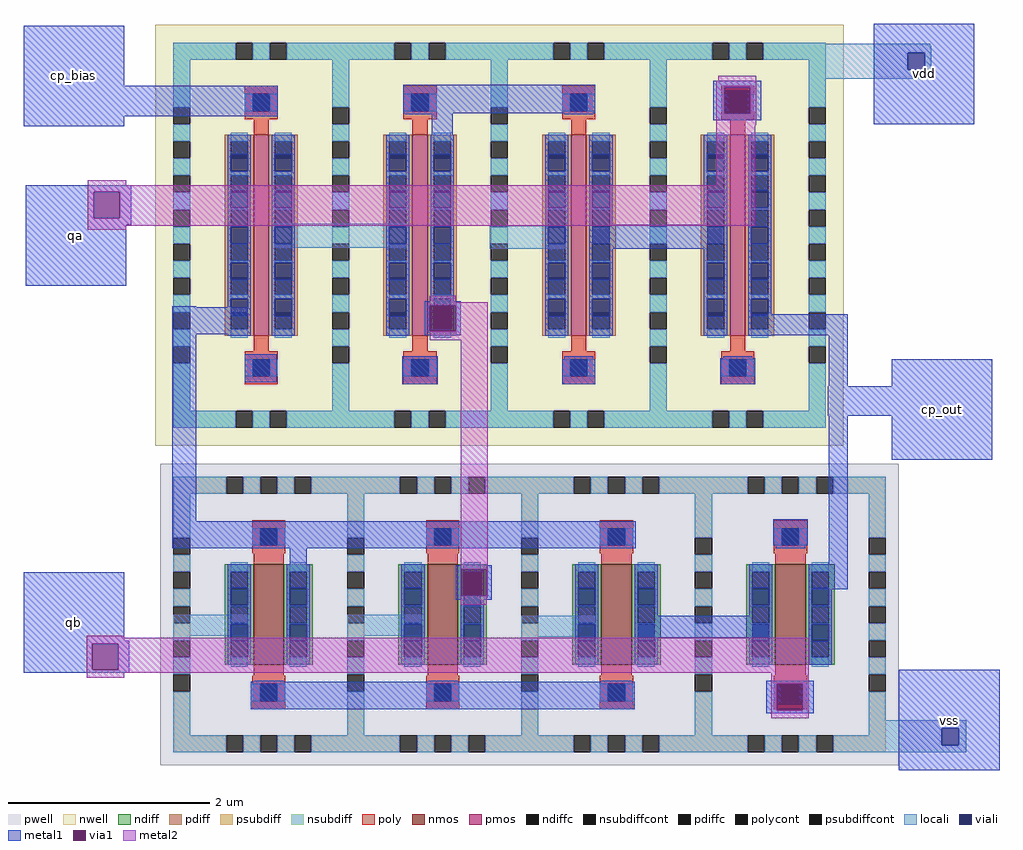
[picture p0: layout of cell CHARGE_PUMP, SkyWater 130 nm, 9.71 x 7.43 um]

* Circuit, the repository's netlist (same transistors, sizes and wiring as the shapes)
* NGSPICE file created from CHARGE_PUMP.ext - technology: sky130A

.subckt sky130_fd_pr__pfet_01v8_XGAKDL a_15_n200# w_n211_n419# a_n33_n297# a_n73_n200#
X0 a_15_n200# a_n33_n297# a_n73_n200# w_n211_n419# sky130_fd_pr__pfet_01v8 ad=0.58 pd=4.58 as=0.58 ps=4.58 w=2 l=0.15
.ends

.subckt sky130_fd_pr__nfet_01v8_PSFW3M a_n88_n100# a_n33_n188# a_n190_n274# a_30_n100#
X0 a_30_n100# a_n33_n188# a_n88_n100# a_n190_n274# sky130_fd_pr__nfet_01v8 ad=0.29 pd=2.58 as=0.29 ps=2.58 w=1 l=0.3
.ends

.subckt CHARGE_PUMP qa qb cp_out vdd vss cp_bias
XM1 vdd vdd m1_1352_628# m1_1352_628# sky130_fd_pr__pfet_01v8_XGAKDL
XM2 vss m1_732_n18# vss m1_1352_628# sky130_fd_pr__nfet_01v8_PSFW3M
XM4 m1_1412_898# vdd m1_1352_628# vdd sky130_fd_pr__pfet_01v8_XGAKDL
XM3 vss m1_732_n18# vss m1_732_n18# sky130_fd_pr__nfet_01v8_PSFW3M
XM5 vss m1_732_n18# vss m1_1502_124# sky130_fd_pr__nfet_01v8_PSFW3M
XM6 m1_1412_898# vdd qa cp_out sky130_fd_pr__pfet_01v8_XGAKDL
XM7 m1_1502_124# qb vss cp_out sky130_fd_pr__nfet_01v8_PSFW3M
XM8 vdd vdd cp_bias m1_732_n18# sky130_fd_pr__pfet_01v8_XGAKDL
.ends

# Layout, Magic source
magic
tech sky130A
magscale 1 2
<< locali >>
rect 1842 1302 2084 1306
rect 1842 1288 2086 1302
rect 1842 1254 2039 1288
rect 2073 1254 2086 1288
rect 1842 1240 2086 1254
rect 1842 1236 2084 1240
rect 780 900 1042 948
rect 1208 898 1358 944
rect 578 128 726 170
rect 924 128 1072 170
rect 1270 126 1418 168
rect 1962 -56 2156 -40
rect 1962 -90 2107 -56
rect 2141 -90 2156 -56
rect 1962 -104 2156 -90
<< viali >>
rect 2039 1254 2073 1288
rect 2107 -90 2141 -56
<< metal1 >>
rect 280 1222 480 1342
rect 1972 1288 2172 1346
rect 1972 1254 2039 1288
rect 2073 1254 2172 1288
rect 280 1162 786 1222
rect 1036 1168 1418 1224
rect 1652 1219 1748 1232
rect 280 1142 480 1162
rect 1092 1088 1134 1168
rect 1652 1167 1674 1219
rect 1726 1167 1748 1219
rect 1652 1154 1748 1167
rect 1972 1146 2172 1254
rect 284 1011 494 1024
rect 284 959 420 1011
rect 472 959 494 1011
rect 284 946 494 959
rect 284 824 484 946
rect 1412 898 1676 946
rect 1078 786 1150 794
rect 576 782 624 784
rect 576 728 726 782
rect 1078 734 1088 786
rect 1140 734 1150 786
rect 576 356 624 728
rect 1078 726 1150 734
rect 1728 726 1920 768
rect 720 632 784 688
rect 1034 628 1104 684
rect 1352 628 1418 678
rect 1666 628 1736 680
rect 1882 624 1920 726
rect 2008 624 2208 678
rect 1880 566 2208 624
rect 576 302 1498 356
rect 1772 308 1840 360
rect 280 118 480 254
rect 810 226 844 302
rect 1140 260 1212 268
rect 1140 208 1150 260
rect 1202 208 1212 260
rect 1882 258 1920 566
rect 2008 478 2208 566
rect 1848 220 1920 258
rect 1140 200 1212 208
rect 1502 124 1764 168
rect 280 112 490 118
rect 280 60 417 112
rect 469 60 490 112
rect 280 54 490 60
rect 732 -18 1496 36
rect 1758 32 1852 38
rect 1758 -20 1779 32
rect 1831 -20 1852 32
rect 1758 -26 1852 -20
rect 2022 -56 2222 60
rect 2022 -90 2107 -56
rect 2141 -90 2222 -56
rect 2022 -140 2222 -90
<< via1 >>
rect 1674 1167 1726 1219
rect 420 959 472 1011
rect 1088 734 1140 786
rect 1150 208 1202 260
rect 417 60 469 112
rect 1779 -20 1831 32
<< metal2 >>
rect 1662 1232 1738 1242
rect 1658 1219 1738 1232
rect 1658 1167 1674 1219
rect 1726 1167 1738 1219
rect 1658 1144 1738 1167
rect 408 1024 484 1034
rect 1658 1024 1736 1144
rect 408 1011 1736 1024
rect 408 959 420 1011
rect 472 959 1736 1011
rect 408 944 1736 959
rect 408 936 484 944
rect 1088 792 1140 804
rect 1088 786 1204 792
rect 1140 734 1204 786
rect 1088 716 1204 734
rect 1150 260 1204 716
rect 1202 208 1204 260
rect 1150 204 1204 208
rect 1150 190 1202 204
rect 406 124 480 128
rect 406 112 1842 124
rect 406 60 417 112
rect 469 60 1842 112
rect 406 54 1842 60
rect 406 44 480 54
rect 1768 32 1842 54
rect 1768 -20 1779 32
rect 1831 -20 1842 32
rect 1768 -36 1842 -20
use sky130_fd_pr__pfet_01v8_XGAKDL  M1
transform -1 0 1069 0 1 925
box -211 -419 211 419
use sky130_fd_pr__nfet_01v8_PSFW3M  M2
transform 1 0 1114 0 1 170
box -216 -300 216 300
use sky130_fd_pr__nfet_01v8_PSFW3M  M3
transform 1 0 768 0 1 170
box -216 -300 216 300
use sky130_fd_pr__pfet_01v8_XGAKDL  M4
transform 1 0 1385 0 1 925
box -211 -419 211 419
use sky130_fd_pr__nfet_01v8_PSFW3M  M5
transform 1 0 1460 0 1 170
box -216 -300 216 300
use sky130_fd_pr__pfet_01v8_XGAKDL  M6
transform -1 0 1701 0 1 925
box -211 -419 211 419
use sky130_fd_pr__nfet_01v8_PSFW3M  M7
transform 1 0 1806 0 1 170
box -216 -300 216 300
use sky130_fd_pr__pfet_01v8_XGAKDL  M8
transform 1 0 753 0 1 925
box -211 -419 211 419
<< labels >>
flabel metal1 s 284 824 484 1024 0 FreeSans 320 0 0 0 qa
port 1 nsew
flabel metal1 s 280 54 480 254 0 FreeSans 320 0 0 0 qb
port 2 nsew
flabel metal1 s 2008 478 2208 678 0 FreeSans 320 0 0 0 cp_out
port 3 nsew
flabel metal1 s 1972 1146 2172 1346 0 FreeSans 320 0 0 0 vdd
port 4 nsew
flabel metal1 s 2022 -140 2222 60 0 FreeSans 320 0 0 0 vss
port 5 nsew
flabel metal1 s 280 1142 480 1342 0 FreeSans 320 0 0 0 cp_bias
port 6 nsew
<< end >>

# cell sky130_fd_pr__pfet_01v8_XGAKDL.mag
magic
tech sky130A
magscale 1 2
<< nwell >>
rect -211 -419 211 419
<< pmos >>
rect -15 -200 15 200
<< pdiff >>
rect -73 187 -15 200
rect -73 153 -61 187
rect -27 153 -15 187
rect -73 119 -15 153
rect -73 85 -61 119
rect -27 85 -15 119
rect -73 51 -15 85
rect -73 17 -61 51
rect -27 17 -15 51
rect -73 -17 -15 17
rect -73 -51 -61 -17
rect -27 -51 -15 -17
rect -73 -85 -15 -51
rect -73 -119 -61 -85
rect -27 -119 -15 -85
rect -73 -153 -15 -119
rect -73 -187 -61 -153
rect -27 -187 -15 -153
rect -73 -200 -15 -187
rect 15 187 73 200
rect 15 153 27 187
rect 61 153 73 187
rect 15 119 73 153
rect 15 85 27 119
rect 61 85 73 119
rect 15 51 73 85
rect 15 17 27 51
rect 61 17 73 51
rect 15 -17 73 17
rect 15 -51 27 -17
rect 61 -51 73 -17
rect 15 -85 73 -51
rect 15 -119 27 -85
rect 61 -119 73 -85
rect 15 -153 73 -119
rect 15 -187 27 -153
rect 61 -187 73 -153
rect 15 -200 73 -187
<< pdiffc >>
rect -61 153 -27 187
rect -61 85 -27 119
rect -61 17 -27 51
rect -61 -51 -27 -17
rect -61 -119 -27 -85
rect -61 -187 -27 -153
rect 27 153 61 187
rect 27 85 61 119
rect 27 17 61 51
rect 27 -51 61 -17
rect 27 -119 61 -85
rect 27 -187 61 -153
<< nsubdiff >>
rect -175 349 -51 383
rect -17 349 17 383
rect 51 349 175 383
rect -175 255 -141 349
rect 141 255 175 349
rect -175 187 -141 221
rect -175 119 -141 153
rect -175 51 -141 85
rect -175 -17 -141 17
rect -175 -85 -141 -51
rect -175 -153 -141 -119
rect -175 -221 -141 -187
rect 141 187 175 221
rect 141 119 175 153
rect 141 51 175 85
rect 141 -17 175 17
rect 141 -85 175 -51
rect 141 -153 175 -119
rect 141 -221 175 -187
rect -175 -349 -141 -255
rect 141 -349 175 -255
rect -175 -383 -51 -349
rect -17 -383 17 -349
rect 51 -383 175 -349
<< nsubdiffcont >>
rect -51 349 -17 383
rect 17 349 51 383
rect -175 221 -141 255
rect 141 221 175 255
rect -175 153 -141 187
rect -175 85 -141 119
rect -175 17 -141 51
rect -175 -51 -141 -17
rect -175 -119 -141 -85
rect -175 -187 -141 -153
rect 141 153 175 187
rect 141 85 175 119
rect 141 17 175 51
rect 141 -51 175 -17
rect 141 -119 175 -85
rect 141 -187 175 -153
rect -175 -255 -141 -221
rect 141 -255 175 -221
rect -51 -383 -17 -349
rect 17 -383 51 -349
<< poly >>
rect -33 281 33 297
rect -33 247 -17 281
rect 17 247 33 281
rect -33 231 33 247
rect -15 200 15 231
rect -15 -231 15 -200
rect -33 -247 33 -231
rect -33 -281 -17 -247
rect 17 -281 33 -247
rect -33 -297 33 -281
<< polycont >>
rect -17 247 17 281
rect -17 -281 17 -247
<< locali >>
rect -175 349 -51 383
rect -17 349 17 383
rect 51 349 175 383
rect -175 255 -141 349
rect -33 247 -17 281
rect 17 247 33 281
rect 141 255 175 349
rect -175 187 -141 221
rect -175 119 -141 153
rect -175 51 -141 85
rect -175 -17 -141 17
rect -175 -85 -141 -51
rect -175 -153 -141 -119
rect -175 -221 -141 -187
rect -61 187 -27 204
rect -61 119 -27 127
rect -61 51 -27 55
rect -61 -55 -27 -51
rect -61 -127 -27 -119
rect -61 -204 -27 -187
rect 27 187 61 204
rect 27 119 61 127
rect 27 51 61 55
rect 27 -55 61 -51
rect 27 -127 61 -119
rect 27 -204 61 -187
rect 141 187 175 221
rect 141 119 175 153
rect 141 51 175 85
rect 141 -17 175 17
rect 141 -85 175 -51
rect 141 -153 175 -119
rect 141 -221 175 -187
rect -175 -349 -141 -255
rect -33 -281 -17 -247
rect 17 -281 33 -247
rect 141 -349 175 -255
rect -175 -383 -51 -349
rect -17 -383 17 -349
rect 51 -383 175 -349
<< viali >>
rect -17 247 17 281
rect -61 153 -27 161
rect -61 127 -27 153
rect -61 85 -27 89
rect -61 55 -27 85
rect -61 -17 -27 17
rect -61 -85 -27 -55
rect -61 -89 -27 -85
rect -61 -153 -27 -127
rect -61 -161 -27 -153
rect 27 153 61 161
rect 27 127 61 153
rect 27 85 61 89
rect 27 55 61 85
rect 27 -17 61 17
rect 27 -85 61 -55
rect 27 -89 61 -85
rect 27 -153 61 -127
rect 27 -161 61 -153
rect -17 -281 17 -247
<< metal1 >>
rect -29 281 29 287
rect -29 247 -17 281
rect 17 247 29 281
rect -29 241 29 247
rect -67 161 -21 200
rect -67 127 -61 161
rect -27 127 -21 161
rect -67 89 -21 127
rect -67 55 -61 89
rect -27 55 -21 89
rect -67 17 -21 55
rect -67 -17 -61 17
rect -27 -17 -21 17
rect -67 -55 -21 -17
rect -67 -89 -61 -55
rect -27 -89 -21 -55
rect -67 -127 -21 -89
rect -67 -161 -61 -127
rect -27 -161 -21 -127
rect -67 -200 -21 -161
rect 21 161 67 200
rect 21 127 27 161
rect 61 127 67 161
rect 21 89 67 127
rect 21 55 27 89
rect 61 55 67 89
rect 21 17 67 55
rect 21 -17 27 17
rect 61 -17 67 17
rect 21 -55 67 -17
rect 21 -89 27 -55
rect 61 -89 67 -55
rect 21 -127 67 -89
rect 21 -161 27 -127
rect 61 -161 67 -127
rect 21 -200 67 -161
rect -29 -247 29 -241
rect -29 -281 -17 -247
rect 17 -281 29 -247
rect -29 -287 29 -281
<< properties >>
string FIXED_BBOX -158 -366 158 366
<< end >>

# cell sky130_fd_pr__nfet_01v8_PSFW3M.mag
magic
tech sky130A
magscale 1 2
<< pwell >>
rect -216 -300 216 300
<< nmos >>
rect -30 -100 30 100
<< ndiff >>
rect -88 85 -30 100
rect -88 51 -76 85
rect -42 51 -30 85
rect -88 17 -30 51
rect -88 -17 -76 17
rect -42 -17 -30 17
rect -88 -51 -30 -17
rect -88 -85 -76 -51
rect -42 -85 -30 -51
rect -88 -100 -30 -85
rect 30 85 88 100
rect 30 51 42 85
rect 76 51 88 85
rect 30 17 88 51
rect 30 -17 42 17
rect 76 -17 88 17
rect 30 -51 88 -17
rect 30 -85 42 -51
rect 76 -85 88 -51
rect 30 -100 88 -85
<< ndiffc >>
rect -76 51 -42 85
rect -76 -17 -42 17
rect -76 -85 -42 -51
rect 42 51 76 85
rect 42 -17 76 17
rect 42 -85 76 -51
<< psubdiff >>
rect -190 240 -85 274
rect -51 240 -17 274
rect 17 240 51 274
rect 85 240 190 274
rect -190 153 -156 240
rect 156 153 190 240
rect -190 85 -156 119
rect -190 17 -156 51
rect -190 -51 -156 -17
rect -190 -119 -156 -85
rect 156 85 190 119
rect 156 17 190 51
rect 156 -51 190 -17
rect 156 -119 190 -85
rect -190 -240 -156 -153
rect 156 -240 190 -153
rect -190 -274 -85 -240
rect -51 -274 -17 -240
rect 17 -274 51 -240
rect 85 -274 190 -240
<< psubdiffcont >>
rect -85 240 -51 274
rect -17 240 17 274
rect 51 240 85 274
rect -190 119 -156 153
rect 156 119 190 153
rect -190 51 -156 85
rect -190 -17 -156 17
rect -190 -85 -156 -51
rect 156 51 190 85
rect 156 -17 190 17
rect 156 -85 190 -51
rect -190 -153 -156 -119
rect 156 -153 190 -119
rect -85 -274 -51 -240
rect -17 -274 17 -240
rect 51 -274 85 -240
<< poly >>
rect -33 172 33 188
rect -33 138 -17 172
rect 17 138 33 172
rect -33 122 33 138
rect -30 100 30 122
rect -30 -122 30 -100
rect -33 -138 33 -122
rect -33 -172 -17 -138
rect 17 -172 33 -138
rect -33 -188 33 -172
<< polycont >>
rect -17 138 17 172
rect -17 -172 17 -138
<< locali >>
rect -190 240 -85 274
rect -51 240 -17 274
rect 17 240 51 274
rect 85 240 190 274
rect -190 153 -156 240
rect -33 138 -17 172
rect 17 138 33 172
rect 156 153 190 240
rect -190 85 -156 119
rect -190 17 -156 51
rect -190 -51 -156 -17
rect -190 -119 -156 -85
rect -76 85 -42 104
rect -76 17 -42 19
rect -76 -19 -42 -17
rect -76 -104 -42 -85
rect 42 85 76 104
rect 42 17 76 19
rect 42 -19 76 -17
rect 42 -104 76 -85
rect 156 85 190 119
rect 156 17 190 51
rect 156 -51 190 -17
rect 156 -119 190 -85
rect -190 -240 -156 -153
rect -33 -172 -17 -138
rect 17 -172 33 -138
rect 156 -240 190 -153
rect -190 -274 -85 -240
rect -51 -274 -17 -240
rect 17 -274 51 -240
rect 85 -274 190 -240
<< viali >>
rect -17 138 17 172
rect -76 51 -42 53
rect -76 19 -42 51
rect -76 -51 -42 -19
rect -76 -53 -42 -51
rect 42 51 76 53
rect 42 19 76 51
rect 42 -51 76 -19
rect 42 -53 76 -51
rect -17 -172 17 -138
<< metal1 >>
rect -29 172 29 178
rect -29 138 -17 172
rect 17 138 29 172
rect -29 132 29 138
rect -82 53 -36 100
rect -82 19 -76 53
rect -42 19 -36 53
rect -82 -19 -36 19
rect -82 -53 -76 -19
rect -42 -53 -36 -19
rect -82 -100 -36 -53
rect 36 53 82 100
rect 36 19 42 53
rect 76 19 82 53
rect 36 -19 82 19
rect 36 -53 42 -19
rect 76 -53 82 -19
rect 36 -100 82 -53
rect -29 -138 29 -132
rect -29 -172 -17 -138
rect 17 -172 29 -138
rect -29 -178 29 -172
<< properties >>
string FIXED_BBOX -173 -257 173 257
<< end >>
